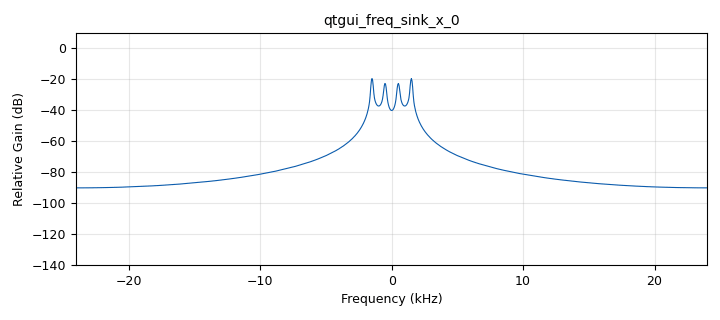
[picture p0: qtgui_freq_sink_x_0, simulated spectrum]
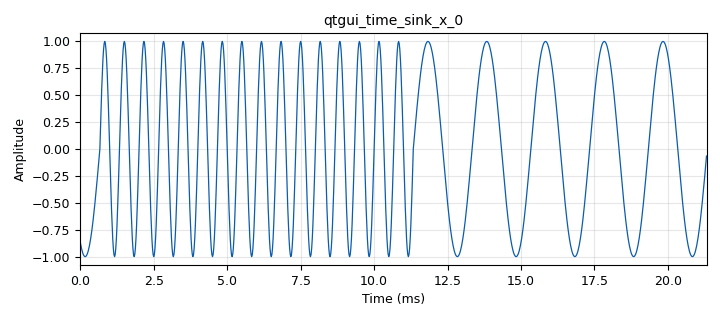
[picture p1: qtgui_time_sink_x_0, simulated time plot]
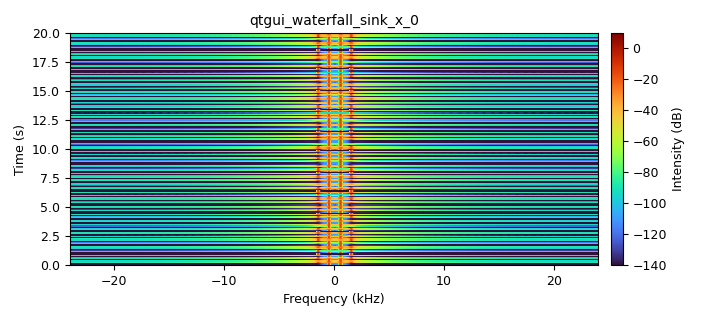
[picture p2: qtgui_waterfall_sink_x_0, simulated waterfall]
options:
  parameters:
    author: Or
    generate_options: qt_gui
    id: fsk_python_embd
    output_language: python
    title: FSK With Python Embedded Signal Source
  states: {}

blocks:
- name: div_range
  id: variable_qtgui_range
  parameters:
    orient: Qt.Horizontal
    start: '500'
    step: '1'
    stop: '10000'
    value: '500'
  states: {}
- name: f_c_range
  id: variable_qtgui_range
  parameters:
    orient: Qt.Horizontal
    start: '500'
    step: '1'
    stop: '10000'
    value: '1000'
  states: {}
- name: samp_rate
  id: variable
  parameters:
    value: '48000'
  states: {}
- name: blocks_repeat_0
  id: blocks_repeat
  parameters:
    interp: '500'
    type: byte
  states: {}
- name: blocks_throttle_0
  id: blocks_throttle
  parameters:
    samples_per_second: samp_rate
    type: byte
  states: {}
- name: blocks_vector_source_x_0
  id: blocks_vector_source_x
  parameters:
    repeat: 'True'
    type: byte
    vector: (0, 0, 1, 1, 1, 0, 1, 0, 1, 0, 0, 0, 0, 0)
  states: {}
- name: epy_block_0
  id: epy_block
  parameters:
    _source_code: |
      """
      Embedded Python Blocks:

      Each time this file is saved, GRC will instantiate the first class it finds
      to get ports and parameters of your block. The arguments to __init__  will
      be the parameters. All of them are required to have default values!
      """
      import time
      import numpy as np
      from gnuradio import gr


      class blk(gr.sync_block):  # other base classes are basic_block, decim_block, interp_block
          """Embedded Python Block example - a simple multiply const"""

          def __init__(self, samp_rate=32000, f_c=1000, diviation=500):  # only default arguments here
              """arguments to this function show up as parameters in GRC"""
              gr.sync_block.__init__(
                  self,
                  name='FSK MOD',   # will show up in GRC
                  in_sig=[np.byte],
                  out_sig=[np.float32]
              )
              # if an attribute with the same name as a parameter is found,
              # a callback is registered (properties work, too).
              self.f_c = f_c
              self.samp_rate = samp_rate
              self.diviation = diviation
              self._update_freq(0)
              self.theta = 0
              self.EPSILON = 0.001
          
          def _update_signal_var(self):
              self.theta += 2 * np.pi * self._freq / self.samp_rate
              self.theta %= 2 * np.pi
          
          def _update_freq(self, bit):
              if bit:
                  self._freq = self.f_c + self.diviation
              else:
                  self._freq = self.f_c - self.diviation
                  
          def work(self, input_items, output_items):
              """example: multiply with constant"""
              for i in range(len(input_items[0])):
                  if abs(self.theta) < self.EPSILON:
                      self._update_freq(int(input_items[0][i]))
                  output_items[0][i] = float(np.sin(self.theta))
                  self._update_signal_var()
              #print(len(output_items[0]), time.time())
              return len(output_items[0])
    diviation: div_range
    f_c: f_c_range
    samp_rate: samp_rate
  states: {}
- name: qtgui_freq_sink_x_0
  id: qtgui_freq_sink_x
  parameters:
    bw: samp_rate
    fc: '0'
    fftsize: '1024'
    type: float
    wintype: firdes.WIN_BLACKMAN_hARRIS
  states: {}
- name: qtgui_time_sink_x_0
  id: qtgui_time_sink_x
  parameters:
    size: '1024'
    srate: samp_rate
    type: float
  states: {}
- name: qtgui_waterfall_sink_x_0
  id: qtgui_waterfall_sink_x
  parameters:
    bw: samp_rate
    fc: '0'
    fftsize: '1024'
    type: float
    wintype: firdes.WIN_BLACKMAN_hARRIS
  states: {}

connections:
- [blocks_repeat_0, '0', epy_block_0, '0']
- [blocks_throttle_0, '0', blocks_repeat_0, '0']
- [blocks_vector_source_x_0, '0', blocks_throttle_0, '0']
- [epy_block_0, '0', qtgui_freq_sink_x_0, '0']
- [epy_block_0, '0', qtgui_time_sink_x_0, '0']
- [epy_block_0, '0', qtgui_waterfall_sink_x_0, '0']

metadata:
  file_format: 1
